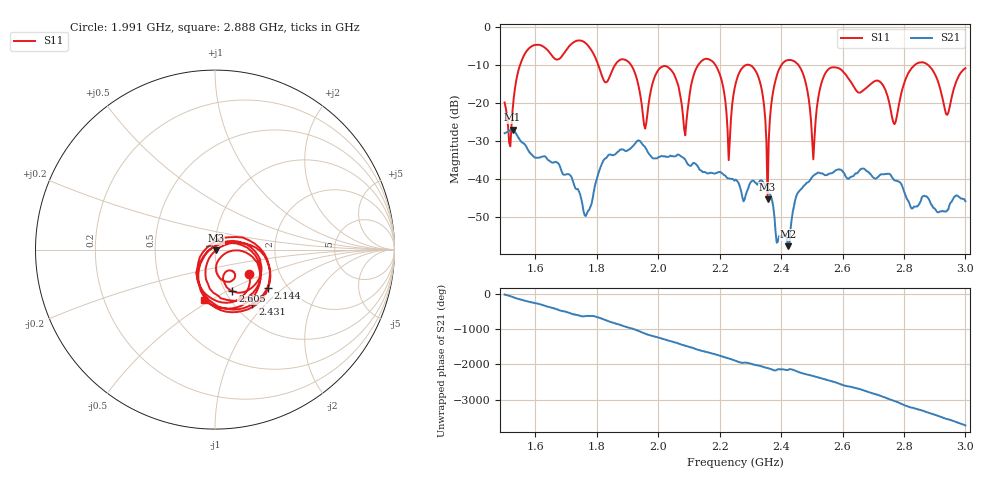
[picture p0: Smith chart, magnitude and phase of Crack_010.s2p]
# HZ S RI R 50
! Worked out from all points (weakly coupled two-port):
!   404 points, 1.5 GHz to 3 GHz, reference 50 ohm
!   highest |S21| = -27.02 dB at 1.526 GHz (marker M1); lowest = -57.8 dB at 2.423 GHz (marker M2)
!   lowest |S11| = -45.4 dB at 2.356 GHz (marker M3), VSWR 1.01, Z = 50.4 - j0.326 ohm
!   |S11| at or under -10 dB: 1.912 GHz to 2.13 GHz (218.2 MHz wide, 10.8 % of centre); 2.457 GHz to 2.835 GHz (377.9 MHz wide, 14.3 % of centre); 2.879 GHz to end of sweep (the widest 3 of 7)
!   S12 and S22 are empty: the file has one direction only
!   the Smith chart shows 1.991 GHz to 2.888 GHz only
!   S11 on the Smith chart (normalised r, x): 1.991 GHz: 1.41, -0.40; 2.144 GHz: 1.60, -0.79; 2.431 GHz: 1.20, -0.85; 2.605 GHz: 1.08, -0.53; 2.888 GHz: 0.76, -0.47
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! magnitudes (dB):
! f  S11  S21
! 1.5 GHz  -19.9  -28.0
! 1.526 GHz  -21.8  -27.0
! 1.578 GHz  -5.7  -32.6
! 1.753 GHz  -3.6  -46.7
! 1.909 GHz  -9.7  -32.0
! 1.958 GHz  -26.7  -31.7
! 1.991 GHz  -12.6  -34.6
! 2.002 GHz  -11.0  -34.2
! 2.088 GHz  -28.5  -34.9
! 2.144 GHz  -8.8  -38.2
! 2.23 GHz  -35.1  -39.9
! 2.252 GHz  -14.9  -40.2
! 2.319 GHz  -11.8  -41.2
! 2.356 GHz  -45.4  -43.4
! 2.423 GHz  -8.6  -57.8
! 2.431 GHz  -8.6  -53.4
! 2.501 GHz  -29.6  -39.5
! 2.605 GHz  -12.0  -38.5
! 2.751 GHz  -19.4  -38.7
! 2.888 GHz  -10.8  -46.7
! 2.94 GHz  -23.1  -48.3
! 3 GHz  -10.8  -45.9
